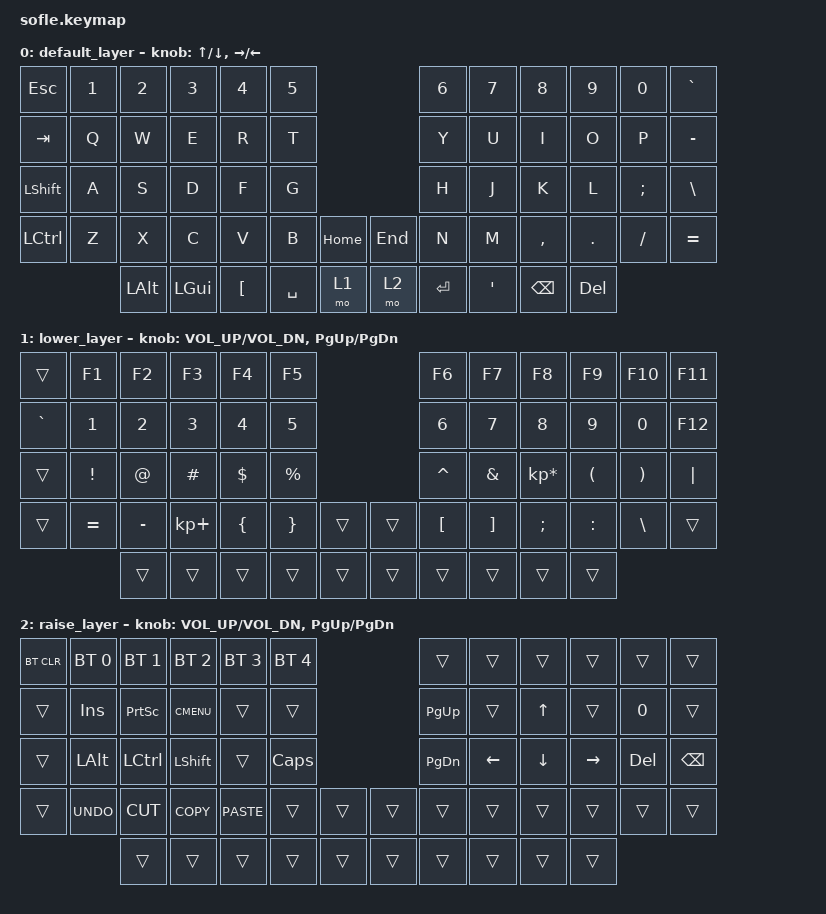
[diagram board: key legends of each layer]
/*
 * Copyright (c) 2020 The ZMK Contributors
 *
 * SPDX-License-Identifier: MIT
 */

#include <behaviors.dtsi>
#include <dt-bindings/zmk/keys.h>
#include <dt-bindings/zmk/bt.h>

/ {
    keymap {
        compatible = "zmk,keymap";

        default_layer {
// ------------------------------------------------------------------------------------------------------------
// |  ESC  |  1  |  2  |  3   |  4   |  5   |                   |  6   |  7    |  8          |  9   |   0   | ~ |
// |  TAB  |  Q  |  W  |  E   |  R   |  T   |                   |  Y   |  U    |  I          |  O   |   P   | - |
// | SHIFT |  A  |  S  |  D   |  F   |  G   |                   |  H   |  J    |  K          |  L   |   ;   | \ |
// |  CTRL |  Z  |  X  |  C   |  V   |  B   | MUTE  |   |       |  N   |  M    |  ,          |  .   |   /   | = |
//               | ALT | GUI  | CTRL | LOWER| ENTER |   | UP LVL| ENTER|  '    | BACKSPACE   | DEL  |
            bindings = <
&kp ESC     &kp N1 &kp N2   &kp N3   &kp N4    &kp N5                       &kp N6     &kp N7   &kp N8    &kp N9   &kp N0   &kp GRAVE
&kp TAB     &kp Q  &kp W    &kp E    &kp R     &kp T                        &kp Y      &kp U    &kp I     &kp O    &kp P    &kp MINUS
&kp LSHFT  &kp A  &kp S    &kp D    &kp F     &kp G                        &kp H      &kp J    &kp K     &kp L    &kp SEMI &kp BSLH
&kp LCTRL   &kp Z  &kp X    &kp C    &kp V     &kp B      &kp HOME  &kp END &kp N      &kp M    &kp COMMA &kp DOT  &kp FSLH &kp EQUAL
                   &kp LALT &kp LGUI &kp LBKT  &kp SPACE  &mo 1     &mo 2   &kp RET    &kp SQT  &kp BSPC  &kp DEL
            >;

            sensor-bindings = <&inc_dec_kp UP DOWN &inc_dec_kp RIGHT LEFT>;
        };

        lower_layer {
// TODO: Some binds are waiting for shifted keycode support.
// ------------------------------------------------------------------------------------------------------------
// |       |  F1 |  F2 |  F3  |  F4  |  F5  |                   |  F6  |  F7   |  F8   |  F9  |  F10  |  F11  |
// | `     |   1 |   2 |   3  |   4  |   5  |                   |   6  |   7   |   8   |   9  |    0  |  F12  |
// |       |  !  |  @  |  #   |  $   |  %   |                   |  ^   |  &    |  *    |  (   |   )   |   |   |
// |       |  =  |  -  |  +   |  {   |  }   |        |  |       |  [   |  ]    |  ;    |  :   |   \   |       |
//               |     |      |      |      |        |  |       |      |       |       |      |
            bindings = <
&trans    &kp F1    &kp F2    &kp F3      &kp F4    &kp F5                    &kp F6    &kp F7   &kp F8          &kp F9    &kp F10   &kp F11
&kp GRAVE &kp N1    &kp N2    &kp N3      &kp N4    &kp N5                    &kp N6    &kp N7   &kp N8          &kp N9    &kp N0    &kp F12
&trans    &kp EXCL  &kp AT    &kp HASH    &kp DLLR  &kp PRCNT                 &kp CARET &kp AMPS &kp KP_MULTIPLY &kp LPAR  &kp RPAR  &kp PIPE
&trans    &kp EQUAL &kp MINUS &kp KP_PLUS &kp LBRC  &kp RBRC  &trans   &trans &kp LBKT  &kp RBKT &kp SEMI        &kp COLON &kp BSLH  &trans
                    &trans    &trans      &trans    &trans    &trans   &trans &trans    &trans   &trans          &trans
            >;

            sensor-bindings = <&inc_dec_kp C_VOL_UP C_VOL_DN &inc_dec_kp PG_UP PG_DN>;
        };

        raise_layer {
// ------------------------------------------------------------------------------------------------------------
// |BTCLR| BT1  | BT2  |  BT3  |  BT4  |  BT5 |                |      |      |       |      |       |       |
// |     | INS  | PSCR | GUI   |       |      |                | PGUP |      |   ^   |      |       |       |
// |     | ALT  | CTRL | SHIFT |       | CAPS |                | PGDN |   <- |   v   |  ->  |  DEL  | BKSPC |
// |     | UNDO | CUT  | COPY  | PASTE |      |      |  |      |      |      |       |      |       |       |
//              |      |       |       |      |      |  |      |      |      |       |      |
            bindings = <
&bt BT_CLR &bt BT_SEL 0 &bt BT_SEL 1 &bt BT_SEL 2 &bt BT_SEL 3 &bt BT_SEL 4             &trans    &trans    &trans   &trans    &trans  &trans
&trans     &kp INS      &kp PSCRN    &kp K_CMENU  &trans       &trans                   &kp PG_UP &trans    &kp UP   &trans    &kp N0  &trans
&trans     &kp LALT     &kp LCTRL    &kp LSHFT    &trans       &kp CLCK                 &kp PG_DN &kp LEFT  &kp DOWN &kp RIGHT &kp DEL &kp BSPC
&trans     &kp K_UNDO   &kp K_CUT    &kp K_COPY   &kp K_PASTE  &trans  &trans   &trans  &trans    &trans    &trans   &trans    &trans  &trans
                        &trans       &trans       &trans       &trans  &trans   &trans  &trans    &trans    &trans   &trans
            >;

            sensor-bindings = <&inc_dec_kp C_VOL_UP C_VOL_DN &inc_dec_kp PG_UP PG_DN>;
        };
    };
};
